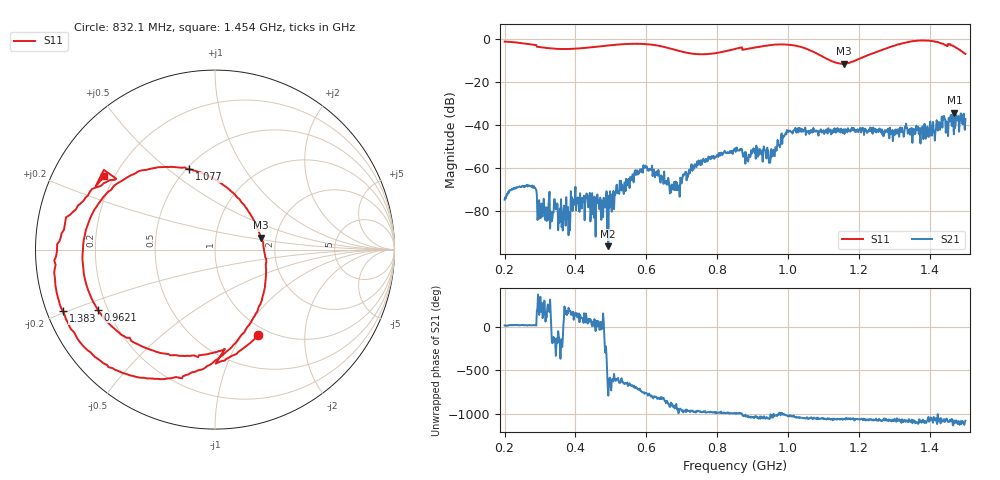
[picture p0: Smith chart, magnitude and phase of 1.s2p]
! NanoVNA-App
! Date: 2024-06-25 16:49:40
! Start: 200MHz Stop: 1.5GHz Points: 801
! S-Parameter data: F S11 S21 S12 S22
# Hz S RI R 50
!  Frequency  S11_Real  S11_Imag  S21_Real  S21_Imag  S12_Real  S12_Imag  S22_Real  S22_Imag
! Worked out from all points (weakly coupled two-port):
!   801 points, 200 MHz to 1.5 GHz, reference 50 ohm
!   highest |S21| = -34.26 dB at 1.469 GHz (marker M1); lowest = -96.2 dB at 492.5 MHz (marker M2)
!   lowest |S11| = -11.6 dB at 1.157 GHz (marker M3), VSWR 1.71, Z = 83.1 + j11.8 ohm
!   |S11| at or under -10 dB: 1.118 GHz to 1.191 GHz (72.79 MHz wide, 6.31 % of centre)
!   S12 and S22 are empty: the file has one direction only
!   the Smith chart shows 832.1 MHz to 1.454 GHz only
!   S11 on the Smith chart (normalised r, x): 832.1 MHz: 0.89, -1.19; 962.1 MHz: 0.16, -0.23; 1.077 GHz: 0.52, +0.59; 1.383 GHz: 0.05, -0.20; 1.454 GHz: 0.16, +0.29
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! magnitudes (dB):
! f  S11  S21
! 200 MHz  -1.3  -74.6
! 268.2 MHz  -2.5  -67.9
! 284.5 MHz  -2.8  -69.2
! 299.1 MHz  -3.8  -83.3
! 417.8 MHz  -4.3  -78.7
! 492.5 MHz  -3.1  -96.2
! 593.2 MHz  -2.4  -59.9
! 633.9 MHz  -3.2  -60.8
! 687.5 MHz  -5.4  -70.2
! 731.4 MHz  -6.9  -59.0
! 832.1 MHz  -5.4  -52.9
! 850 MHz  -4.7  -50.7
! 962.1 MHz  -2.7  -54.4
! 999.5 MHz  -2.7  -43.3
! 1.068 GHz  -5.8  -43.5
! 1.077 GHz  -6.6  -43.0
! 1.157 GHz  -11.6  -41.9
! 1.284 GHz  -4.0  -44.6
! 1.383 GHz  -0.8  -42.4
! 1.454 GHz  -2.6  -38.3
! 1.469 GHz  -3.6  -34.3
! 1.5 GHz  -7.0  -37.1
